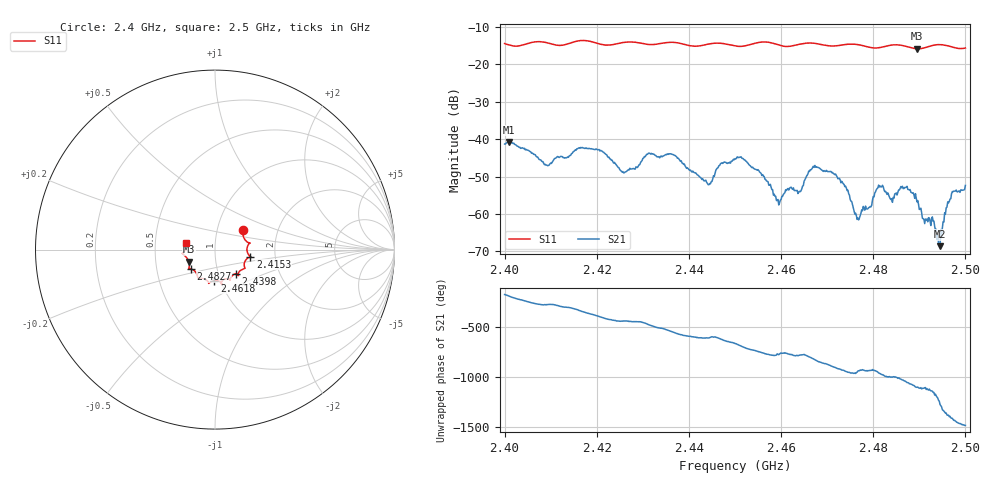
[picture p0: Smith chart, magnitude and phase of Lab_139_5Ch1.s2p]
# Hz S RI R 50
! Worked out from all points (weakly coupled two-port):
!   601 points, 2.4 GHz to 2.5 GHz, reference 50 ohm
!   highest |S21| = -40.76 dB at 2.401 GHz (marker M1); lowest = -68.6 dB at 2.4945 GHz (marker M2)
!   lowest |S11| = -15.9 dB at 2.4895 GHz (marker M3), VSWR 1.38, Z = 37 - j5.03 ohm
!   |S11| at or under -10 dB: start of sweep to end of sweep
!   S12 and S22 are empty: the file has one direction only
!   S11 on the Smith chart (normalised r, x): 2.4 GHz: 1.33, +0.29; 2.4153 GHz: 1.48, -0.12; 2.4398 GHz: 1.21, -0.34; 2.4618 GHz: 0.94, -0.33; 2.4827 GHz: 0.75, -0.17; 2.5 GHz: 0.72, +0.06
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2.4e9  0.1552 0.1066  -0.00858 -0.000399  0 0  0 0
2.401e9  0.1553 0.0909  -0.0089 0.0022  0 0  0 0
2.409167e9  0.1902 0.0332  0.000601 0.00445  0 0  0 0
2.415333e9  0.1963 -0.0392  0.00572 0.00433  0 0  0 0
2.416667e9  0.2021 -0.0431  0.00737 0.00197  0 0  0 0
2.425833e9  0.1664 -0.1011  0.000537 -0.00349  0 0  0 0
2.433333e9  0.1296 -0.1339  -0.00502 -0.00296  0 0  0 0
2.439833e9  0.1155 -0.1356  -0.00233 0.00328  0 0  0 0
2.4445e9  0.0844 -0.1662  -0.000897 0.00238  0 0  0 0
2.45e9  0.065 -0.1626  0.00333 0.00434  0 0  0 0
2.4595e9  0.0259 -0.178  0.000669 -0.00114  0 0  0 0
2.461833e9  -0.00361 -0.1727  0.00122 -0.00184  0 0  0 0
2.464167e9  -0.0293 -0.1828  0.000938 -0.00175  0 0  0 0
2.466667e9  -0.035 -0.1879  -0.000329 -0.00397  0 0  0 0
2.472333e9  -0.074 -0.1601  -0.00278 0.001  0 0  0 0
2.476667e9  -0.0961 -0.1547  -0.000636 0.000613  0 0  0 0
2.482667e9  -0.1346 -0.1083  0.000252 0.00199  0 0  0 0
2.483333e9  -0.1397 -0.1083  0.000407 0.00175  0 0  0 0
2.4895e9  -0.146 -0.0663  0.0013 -0.000652  0 0  0 0
2.4945e9  -0.1808 -0.0209  -0.000351 0.000122  0 0  0 0
2.497e9  -0.1702 -0.00728  0.00171 0.000771  0 0  0 0
2.5e9  -0.1596 0.0389  0.0016 -0.00179  0 0  0 0
